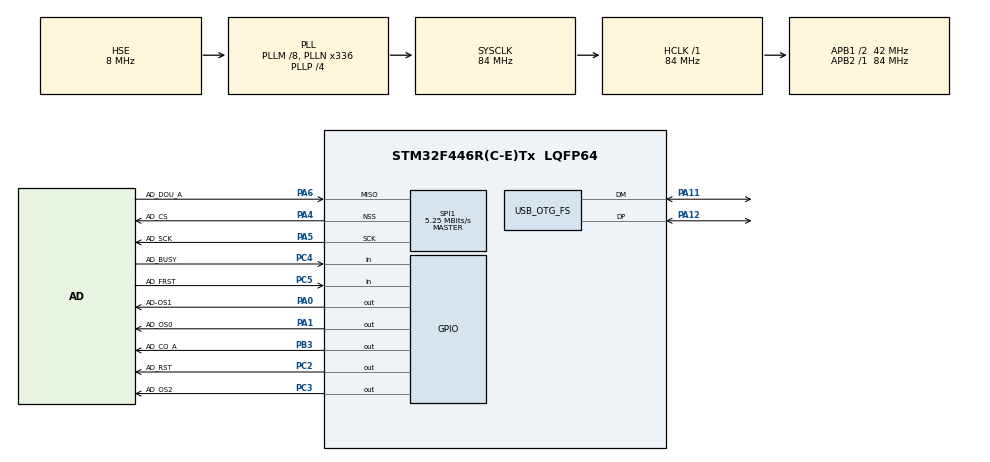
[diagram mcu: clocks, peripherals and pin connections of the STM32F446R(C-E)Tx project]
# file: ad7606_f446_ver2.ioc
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Dma.Request0=SPI1_RX
Dma.SPI1_RX.0.Direction=DMA_PERIPH_TO_MEMORY
Dma.SPI1_RX.0.FIFOMode=DMA_FIFOMODE_DISABLE
Dma.SPI1_RX.0.Instance=DMA2_Stream0
Dma.SPI1_RX.0.MemDataAlignment=DMA_MDATAALIGN_HALFWORD
Dma.SPI1_RX.0.MemInc=DMA_MINC_ENABLE
Dma.SPI1_RX.0.Mode=DMA_NORMAL
Dma.SPI1_RX.0.PeriphDataAlignment=DMA_PDATAALIGN_HALFWORD
Dma.SPI1_RX.0.PeriphInc=DMA_PINC_DISABLE
Dma.SPI1_RX.0.Priority=DMA_PRIORITY_LOW
Mcu.Family=STM32F4
Mcu.Name=STM32F446R(C-E)Tx
Mcu.Package=LQFP64
NVIC.DMA2_Stream0_IRQn=true\:0\:0\:false\:false\:true\:false\:true\:true
NVIC.PriorityGroup=NVIC_PRIORITYGROUP_4
PA0-WKUP.GPIO_Label=AD-OS1
PA0-WKUP.Signal=GPIO_Output
PA1.GPIO_Label=AD_OS0
PA1.Signal=GPIO_Output
PA11.Mode=Device_Only
PA11.Signal=USB_OTG_FS_DM
PA12.Mode=Device_Only
PA12.Signal=USB_OTG_FS_DP
PA4.GPIO_Label=AD_CS
PA4.GPIO_Speed=GPIO_SPEED_FREQ_LOW
PA4.Mode=NSS_Signal_Hard_Output
PA4.Signal=SPI1_NSS
PA5.GPIO_Label=AD_SCK
PA5.GPIO_Speed=GPIO_SPEED_FREQ_LOW
PA5.Mode=RX_Only_Simplex_Unidirect_Master
PA5.Signal=SPI1_SCK
PA6.GPIO_Label=AD_DOU_A
PA6.GPIO_Speed=GPIO_SPEED_FREQ_LOW
PA6.Mode=RX_Only_Simplex_Unidirect_Master
PA6.Signal=SPI1_MISO
PB3.GPIO_Label=AD_CO_A
PB3.Signal=GPIO_Output
PC2.GPIO_Label=AD_RST
PC2.GPIO_PuPd=GPIO_PULLUP
PC2.Signal=GPIO_Output
PC3.GPIO_Label=AD_OS2
PC3.Signal=GPIO_Output
PC4.GPIO_Label=AD_BUSY
PC4.GPIO_PuPd=GPIO_PULLUP
PC4.Signal=GPIO_Input
PC5.GPIO_Label=AD_FRST
PC5.Signal=GPIO_Input
PH0-OSC_IN.Mode=HSE-External-Oscillator
PH0-OSC_IN.Signal=RCC_OSC_IN
PH1-OSC_OUT.Mode=HSE-External-Oscillator
PH1-OSC_OUT.Signal=RCC_OSC_OUT
ProjectManager.HeapSize=0x200
ProjectManager.StackSize=0x400
ProjectManager.TargetToolchain=STM32CubeIDE
RCC.AHBFreq_Value=84000000
RCC.APB1CLKDivider=RCC_HCLK_DIV2
RCC.APB1Freq_Value=42000000
RCC.APB1TimFreq_Value=84000000
RCC.APB2Freq_Value=84000000
RCC.APB2TimFreq_Value=84000000
RCC.CortexFreq_Value=84000000
RCC.HCLKFreq_Value=84000000
RCC.HSE_VALUE=8000000
RCC.PLLM=8
RCC.PLLN=336
RCC.PLLP=RCC_PLLP_DIV4
RCC.PLLQ=7
RCC.PLLSourceVirtual=RCC_PLLSOURCE_HSE
RCC.SYSCLKFreq_VALUE=84000000
RCC.SYSCLKSource=RCC_SYSCLKSOURCE_PLLCLK
RCC.USBFreq_Value=48000000
RCC.VCOOutputFreq_Value=336000000
SPI1.BaudRatePrescaler=SPI_BAUDRATEPRESCALER_16
SPI1.CLKPolarity=SPI_POLARITY_HIGH
SPI1.CalculateBaudRate=5.25 MBits/s
SPI1.DataSize=SPI_DATASIZE_16BIT
SPI1.Direction=SPI_DIRECTION_2LINES_RXONLY
SPI1.Mode=SPI_MODE_MASTER
SPI1.VirtualNSS=VM_NSSHARD
SPI1.VirtualType=VM_MASTER
USB_OTG_FS.VirtualMode=Device_Only
board=custom

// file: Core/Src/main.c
/* USER CODE BEGIN Header */
/**
  ******************************************************************************
  * @file           : main.c
  * @brief          : Main program body
  ******************************************************************************
  * @attention
  *
  * Copyright (c) 2022 STMicroelectronics.
  * All rights reserved.
  *
  * This software is licensed under terms that can be found in the LICENSE file
  * in the root directory of this software component.
  * If no LICENSE file comes with this software, it is provided AS-IS.
  *
  ******************************************************************************
  */
/* USER CODE END Header */
#include "main.h"

SPI_HandleTypeDef hspi1;
DMA_HandleTypeDef hdma_spi1_rx;

PCD_HandleTypeDef hpcd_USB_OTG_FS;

/* USER CODE BEGIN PV */
int16_t bufferi[8] = {1};
float bufferf [8];

/* USER CODE END PV */

void SystemClock_Config(void);
static void MX_GPIO_Init(void);
static void MX_DMA_Init(void);
static void MX_SPI1_Init(void);
static void MX_USB_OTG_FS_PCD_Init(void);

/* USER CODE BEGIN 0 */
void AD7606_OS_SET(void)
{
	HAL_GPIO_WritePin(AD_OS0_GPIO_Port, AD_OS0_Pin, GPIO_PIN_RESET);
	HAL_GPIO_WritePin(AD_OS1_GPIO_Port, AD_OS1_Pin, GPIO_PIN_RESET);
	HAL_GPIO_WritePin(AD_OS2_GPIO_Port, AD_OS2_Pin, GPIO_PIN_RESET);
}

void AD7606_RST(void)
{
	HAL_GPIO_WritePin(AD_RST_GPIO_Port, AD_RST_Pin, GPIO_PIN_SET);
	HAL_GPIO_WritePin(AD_RST_GPIO_Port, AD_RST_Pin, GPIO_PIN_SET);
	HAL_GPIO_WritePin(AD_RST_GPIO_Port, AD_RST_Pin, GPIO_PIN_SET);
	AD7606_Delay(100);
	HAL_GPIO_WritePin(AD_RST_GPIO_Port, AD_RST_Pin, GPIO_PIN_RESET);
}

void AD7606_Delay (uint32_t Delay)
{
	uint32_t i;
	for (i = 0; i < Delay; i++)
	{
		__NOP();
	}
	return;
}
void AD7606_StartReadBytes(SPI_HandleTypeDef *hspi, int16_t *pDst, uint16_t Length)
{
	AD7606_CO_START();
	while (HAL_GPIO_ReadPin(AD_BUSY_GPIO_Port, AD_BUSY_Pin) == GPIO_PIN_SET);
	HAL_SPI_Receive_DMA(hspi, (uint8_t*)pDst, Length);
	return;

}

void AD7606_ConvertToVoltage (uint16_t Length, int16_t *pSrc, float *pDst)
{
	uint16_t i;
	for (i = 0; i < Length; i++)
	{
		pDst[i] = (float)pSrc[i] * 10.0 * 2.5 / 3.3 / 32768.0;
	}
	return;
}

void AD7606_CO_START(void)
{
	HAL_GPIO_WritePin(AD_CO_A_GPIO_Port, AD_CO_A_Pin, GPIO_PIN_RESET);
	HAL_GPIO_WritePin(AD_CO_A_GPIO_Port, AD_CO_A_Pin, GPIO_PIN_RESET);
	AD7606_Delay(100);
	HAL_GPIO_WritePin(AD_CO_A_GPIO_Port, AD_CO_A_Pin, GPIO_PIN_SET);
	HAL_GPIO_WritePin(AD_CO_A_GPIO_Port, AD_CO_A_Pin, GPIO_PIN_SET);

}

void AD7606_CO_STOP(void)
{
	//HAL_TIM_PWM_Stop(&htim2, TIM_CHANNEL_2); //Stop conversion
	//HAL_GPIO_WritePin(AD_CS_GPIO_Port, AD_CS_Pin, 1);
}

/* USER CODE END 0 */

int main(void)
{

  /* MCU Configuration--------------------------------------------------------*/

  /* Reset of all peripherals, Initializes the Flash interface and the Systick. */
  HAL_Init();

  /* Configure the system clock */
  SystemClock_Config();

  /* Initialize all configured peripherals */
  MX_GPIO_Init();
  MX_DMA_Init();
  MX_SPI1_Init();
  MX_USB_OTG_FS_PCD_Init();
  /* USER CODE BEGIN 2 */

  AD7606_RST();
  AD7606_CO_START();

  /* USER CODE END 2 */

  /* Infinite loop */
  while (1)
  {

    /* USER CODE BEGIN 3 */
	  AD7606_StartReadBytes(&hspi1, bufferi, 8);
	  AD7606_ConvertToVoltage(8, bufferi, bufferf);

  }
  /* USER CODE END 3 */
}

void SystemClock_Config(void)
{
  RCC_OscInitTypeDef RCC_OscInitStruct = {0};
  RCC_ClkInitTypeDef RCC_ClkInitStruct = {0};

  /** Configure the main internal regulator output voltage
  */
  __HAL_RCC_PWR_CLK_ENABLE();
  __HAL_PWR_VOLTAGESCALING_CONFIG(PWR_REGULATOR_VOLTAGE_SCALE3);

  /** Initializes the RCC Oscillators according to the specified parameters
  * in the RCC_OscInitTypeDef structure.
  */
  RCC_OscInitStruct.OscillatorType = RCC_OSCILLATORTYPE_HSE;
  RCC_OscInitStruct.HSEState = RCC_HSE_ON;
  RCC_OscInitStruct.PLL.PLLState = RCC_PLL_ON;
  RCC_OscInitStruct.PLL.PLLSource = RCC_PLLSOURCE_HSE;
  RCC_OscInitStruct.PLL.PLLM = 8;
  RCC_OscInitStruct.PLL.PLLN = 336;
  RCC_OscInitStruct.PLL.PLLP = RCC_PLLP_DIV4;
  RCC_OscInitStruct.PLL.PLLQ = 7;
  RCC_OscInitStruct.PLL.PLLR = 2;
  if (HAL_RCC_OscConfig(&RCC_OscInitStruct) != HAL_OK)
  {
    Error_Handler();
  }

  /** Initializes the CPU, AHB and APB buses clocks
  */
  RCC_ClkInitStruct.ClockType = RCC_CLOCKTYPE_HCLK|RCC_CLOCKTYPE_SYSCLK
                              |RCC_CLOCKTYPE_PCLK1|RCC_CLOCKTYPE_PCLK2;
  RCC_ClkInitStruct.SYSCLKSource = RCC_SYSCLKSOURCE_PLLCLK;
  RCC_ClkInitStruct.AHBCLKDivider = RCC_SYSCLK_DIV1;
  RCC_ClkInitStruct.APB1CLKDivider = RCC_HCLK_DIV2;
  RCC_ClkInitStruct.APB2CLKDivider = RCC_HCLK_DIV1;

  if (HAL_RCC_ClockConfig(&RCC_ClkInitStruct, FLASH_LATENCY_2) != HAL_OK)
  {
    Error_Handler();
  }
}

static void MX_SPI1_Init(void)
{

  /* SPI1 parameter configuration*/
  hspi1.Instance = SPI1;
  hspi1.Init.Mode = SPI_MODE_MASTER;
  hspi1.Init.Direction = SPI_DIRECTION_2LINES_RXONLY;
  hspi1.Init.DataSize = SPI_DATASIZE_16BIT;
  hspi1.Init.CLKPolarity = SPI_POLARITY_HIGH;
  hspi1.Init.CLKPhase = SPI_PHASE_1EDGE;
  hspi1.Init.NSS = SPI_NSS_HARD_OUTPUT;
  hspi1.Init.BaudRatePrescaler = SPI_BAUDRATEPRESCALER_16;
  hspi1.Init.FirstBit = SPI_FIRSTBIT_MSB;
  hspi1.Init.TIMode = SPI_TIMODE_DISABLE;
  hspi1.Init.CRCCalculation = SPI_CRCCALCULATION_DISABLE;
  hspi1.Init.CRCPolynomial = 10;
  if (HAL_SPI_Init(&hspi1) != HAL_OK)
  {
    Error_Handler();
  }

}

static void MX_USB_OTG_FS_PCD_Init(void)
{

  hpcd_USB_OTG_FS.Instance = USB_OTG_FS;
  hpcd_USB_OTG_FS.Init.dev_endpoints = 6;
  hpcd_USB_OTG_FS.Init.speed = PCD_SPEED_FULL;
  hpcd_USB_OTG_FS.Init.dma_enable = DISABLE;
  hpcd_USB_OTG_FS.Init.phy_itface = PCD_PHY_EMBEDDED;
  hpcd_USB_OTG_FS.Init.Sof_enable = DISABLE;
  hpcd_USB_OTG_FS.Init.low_power_enable = DISABLE;
  hpcd_USB_OTG_FS.Init.lpm_enable = DISABLE;
  hpcd_USB_OTG_FS.Init.vbus_sensing_enable = DISABLE;
  hpcd_USB_OTG_FS.Init.use_dedicated_ep1 = DISABLE;
  if (HAL_PCD_Init(&hpcd_USB_OTG_FS) != HAL_OK)
  {
    Error_Handler();
  }

}

static void MX_DMA_Init(void)
{

  /* DMA controller clock enable */
  __HAL_RCC_DMA2_CLK_ENABLE();

  /* DMA interrupt init */
  /* DMA2_Stream0_IRQn interrupt configuration */
  HAL_NVIC_SetPriority(DMA2_Stream0_IRQn, 0, 0);
  HAL_NVIC_EnableIRQ(DMA2_Stream0_IRQn);

}

static void MX_GPIO_Init(void)
{
  GPIO_InitTypeDef GPIO_InitStruct = {0};

  /* GPIO Ports Clock Enable */
  __HAL_RCC_GPIOH_CLK_ENABLE();
  __HAL_RCC_GPIOC_CLK_ENABLE();
  __HAL_RCC_GPIOA_CLK_ENABLE();
  __HAL_RCC_GPIOB_CLK_ENABLE();

  /*Configure GPIO pin Output Level */
  HAL_GPIO_WritePin(GPIOC, AD_RST_Pin|AD_OS2_Pin, GPIO_PIN_RESET);

  /*Configure GPIO pin Output Level */
  HAL_GPIO_WritePin(GPIOA, AD_OS1_Pin|AD_OS0_Pin, GPIO_PIN_RESET);

  /*Configure GPIO pin Output Level */
  HAL_GPIO_WritePin(AD_CO_A_GPIO_Port, AD_CO_A_Pin, GPIO_PIN_RESET);

  /*Configure GPIO pin : AD_RST_Pin */
  GPIO_InitStruct.Pin = AD_RST_Pin;
  GPIO_InitStruct.Mode = GPIO_MODE_OUTPUT_PP;
  GPIO_InitStruct.Pull = GPIO_PULLUP;
  GPIO_InitStruct.Speed = GPIO_SPEED_FREQ_LOW;
  HAL_GPIO_Init(AD_RST_GPIO_Port, &GPIO_InitStruct);

  /*Configure GPIO pin : AD_OS2_Pin */
  GPIO_InitStruct.Pin = AD_OS2_Pin;
  GPIO_InitStruct.Mode = GPIO_MODE_OUTPUT_PP;
  GPIO_InitStruct.Pull = GPIO_NOPULL;
  GPIO_InitStruct.Speed = GPIO_SPEED_FREQ_LOW;
  HAL_GPIO_Init(AD_OS2_GPIO_Port, &GPIO_InitStruct);

  /*Configure GPIO pins : AD_OS1_Pin AD_OS0_Pin */
  GPIO_InitStruct.Pin = AD_OS1_Pin|AD_OS0_Pin;
  GPIO_InitStruct.Mode = GPIO_MODE_OUTPUT_PP;
  GPIO_InitStruct.Pull = GPIO_NOPULL;
  GPIO_InitStruct.Speed = GPIO_SPEED_FREQ_LOW;
  HAL_GPIO_Init(GPIOA, &GPIO_InitStruct);

  /*Configure GPIO pin : AD_BUSY_Pin */
  GPIO_InitStruct.Pin = AD_BUSY_Pin;
  GPIO_InitStruct.Mode = GPIO_MODE_INPUT;
  GPIO_InitStruct.Pull = GPIO_PULLUP;
  HAL_GPIO_Init(AD_BUSY_GPIO_Port, &GPIO_InitStruct);

  /*Configure GPIO pin : AD_FRST_Pin */
  GPIO_InitStruct.Pin = AD_FRST_Pin;
  GPIO_InitStruct.Mode = GPIO_MODE_INPUT;
  GPIO_InitStruct.Pull = GPIO_NOPULL;
  HAL_GPIO_Init(AD_FRST_GPIO_Port, &GPIO_InitStruct);

  /*Configure GPIO pin : AD_CO_A_Pin */
  GPIO_InitStruct.Pin = AD_CO_A_Pin;
  GPIO_InitStruct.Mode = GPIO_MODE_OUTPUT_PP;
  GPIO_InitStruct.Pull = GPIO_NOPULL;
  GPIO_InitStruct.Speed = GPIO_SPEED_FREQ_LOW;
  HAL_GPIO_Init(AD_CO_A_GPIO_Port, &GPIO_InitStruct);

}

void Error_Handler(void)
{
  __disable_irq();
  while (1)
  {
  }
}
